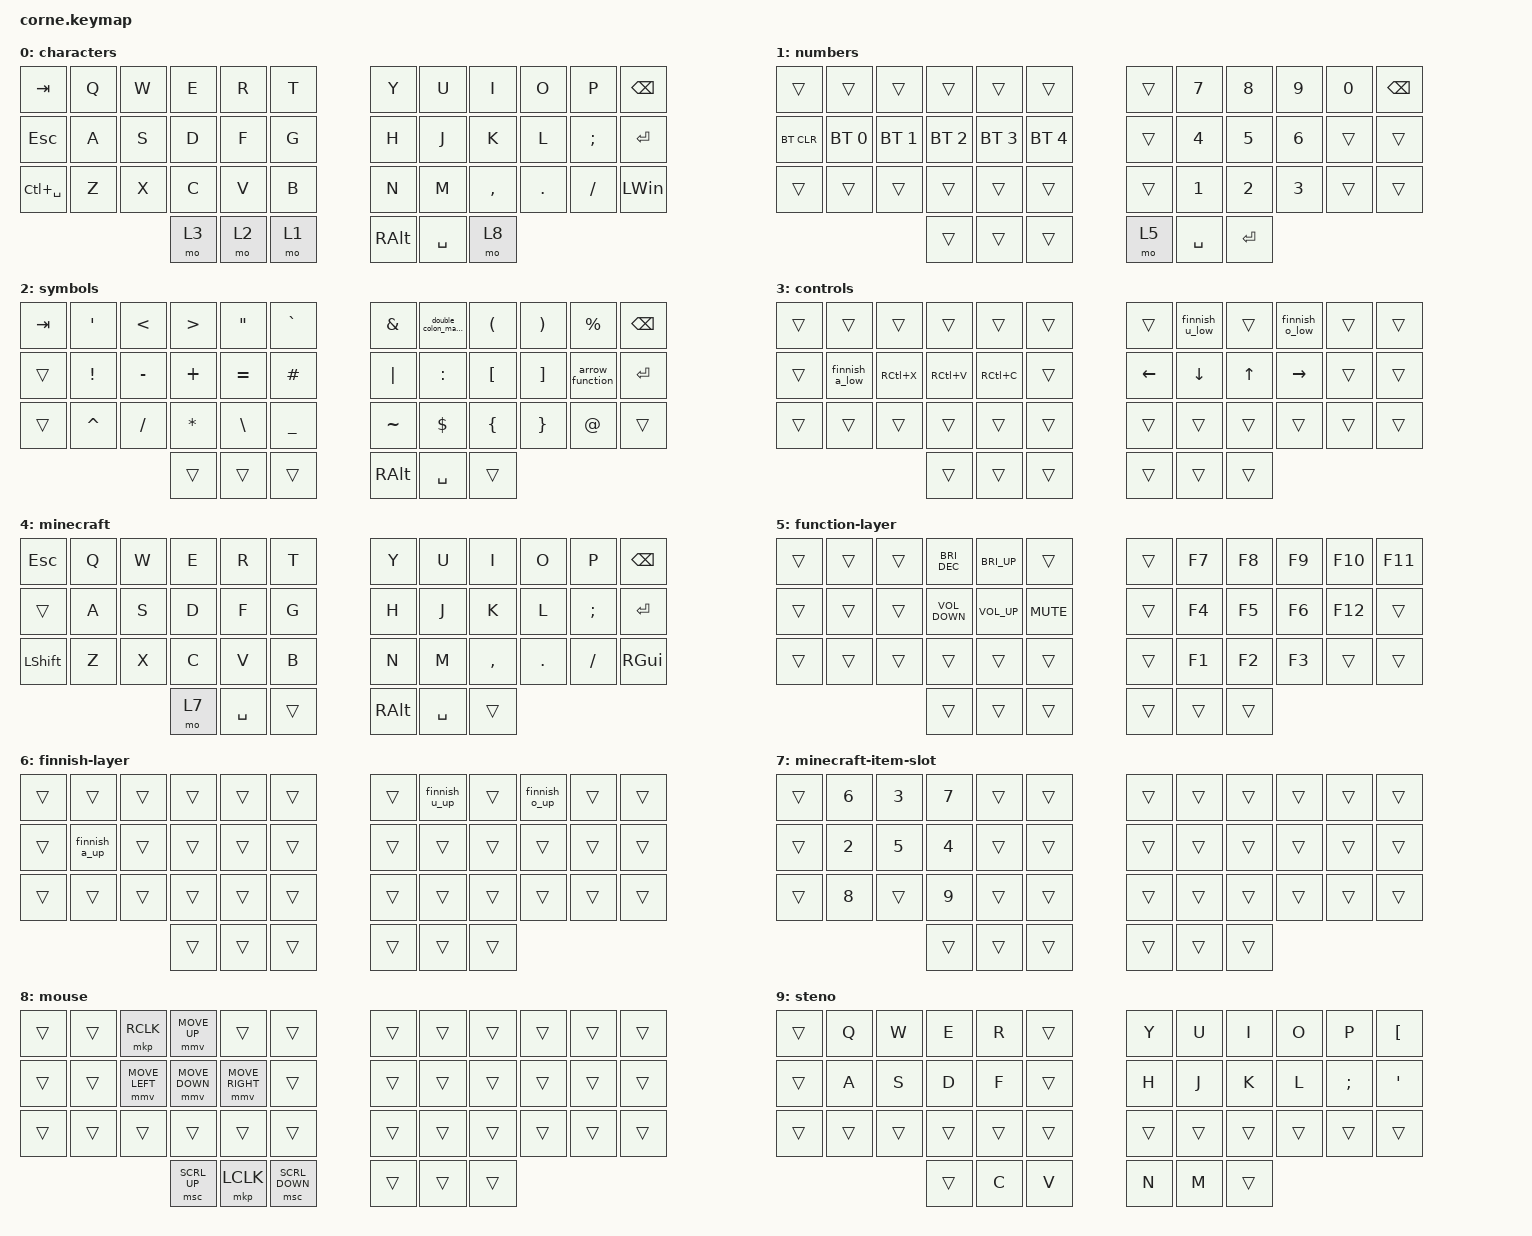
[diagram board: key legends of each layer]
/*
 * Copyright (c) 2020 The ZMK Contributors
 *
 * SPDX-License-Identifier: MIT
 */

#include <behaviors.dtsi>
#include <dt-bindings/zmk/bt.h>
#include <dt-bindings/zmk/keys.h>
#include <dt-bindings/zmk/pointing.h>

#define ZMK_POINTING_DEFAULT_MOVE_VAL 1500  // default was 600
#define ZMK_POINTING_DEFAULT_SCRL_VAL 20    // default was 10

/ {
    combos {
        compatible = "zmk,combos";

        powertoy-search {
            bindings = <&kp LG(SPACE)>;
            key-positions = <39 38>;
            layers = <0>;
        };

        right-shift {
            bindings = <&kp RSHIFT>;
            key-positions = <19 20>;
            layers = <0>;
        };

        left-shift {
            bindings = <&kp LSHFT>;
            key-positions = <16 15>;
            layers = <0>;
        };

        left-control {
            bindings = <&kp LEFT_CONTROL>;
            key-positions = <15 14>;
            layers = <0 1>;
        };

        right-control {
            bindings = <&kp RIGHT_CONTROL>;
            key-positions = <20 21>;
            layers = <0 1>;
        };

        ctrl-shift-right {
            bindings = <&kp RS(RC(RIGHT_CONTROL))>;
            key-positions = <19 21>;
            layers = <0>;
        };

        ctrl-shift-left {
            bindings = <&kp RS(RC(RIGHT_CONTROL))>;
            key-positions = <16 14>;
            layers = <0>;
        };

        caplocks {
            bindings = <&kp CAPS>;
            key-positions = <36 41>;
            layers = <0>;
        };

        krunker-layer {
            bindings = <&tog 4>;
            key-positions = <12 23>;
            layers = <0 4>;
        };

        finnish-captialzie-right {
            bindings = <&mo 6>;
            key-positions = <19 20>;
            layers = <3>;
        };

        finnish-captialize-left {
            bindings = <&mo 6>;
            key-positions = <16 15>;
            layers = <3>;
        };

        steno-switch {
            bindings = <&tog 9>;
            key-positions = <25 34>;
            layers = <0 9>;
        };
    };

    behaviors {
        hmr: hmr {
            compatible = "zmk,behavior-hold-tap";
            label = "HMR";
            #binding-cells = <2>;
            tapping-term-ms = <280>;
            bindings = <&kp>, <&kp>;

            quick-tap-ms = <175>;
            require-prior-idle-ms = <150>;
            flavor = "balanced";
            hold-trigger-on-release;
            hold-trigger-key-positions = <41 40 39 0 1 2 3 4 5 12 13 14 15 16 17 24 25 26 27 28 29 36 37 38>;
        };

        hml: hml {
            compatible = "zmk,behavior-hold-tap";
            label = "HML";
            #binding-cells = <2>;
            tapping-term-ms = <280>;
            bindings = <&kp>, <&kp>;

            quick-tap-ms = <175>;
            require-prior-idle-ms = <150>;
            flavor = "balanced";
            hold-trigger-on-release;
            hold-trigger-key-positions = <41 40 39 38 37 36 6 7 8 9 10 11 18 19 20 21 22 23 30 31 32 33 34 35 39 40 41>;
        };
    };

    macros {
        double_colon_macro: double_colon_macro {
            compatible = "zmk,behavior-macro";
            #binding-cells = <0>;
            bindings = <&kp COLON &kp COLON>;
            label = "DOUBLE_COLON_MACRO";
        };

        arrow_function: arrow_function {
            compatible = "zmk,behavior-macro";
            #binding-cells = <0>;
            bindings = <&kp LPAR &kp RPAR &kp SPACE &kp EQUAL &kp GT &kp SPACE &kp LEFT_BRACE &kp ENTER>;
            label = "ARROW_FUNCTION";
        };

        shut_down_window: shut_down_window {
            compatible = "zmk,behavior-macro";
            #binding-cells = <0>;
            bindings = <&kp RG(X) &kp U &kp U>;
            label = "SHUT_DOWN_WINDOW";
        };

        finnish_a_low: finnish_a_low {
            compatible = "zmk,behavior-macro";
            #binding-cells = <0>;
            bindings = <&kp LEFT_WIN &kp DQT &kp A>;
            label = "FINNISH_A_LOW";
        };

        finnish_u_low: finnish_u_low {
            compatible = "zmk,behavior-macro";
            #binding-cells = <0>;
            bindings = <&kp LEFT_WIN &kp DQT &kp U>;
            label = "FINNISH_U_LOW";
        };

        finnish_o_low: finnish_o_low {
            compatible = "zmk,behavior-macro";
            #binding-cells = <0>;
            bindings = <&kp LEFT_WIN &kp DQT &kp O>;
            label = "FINNISH_O_LOW";
        };

        finnish_a_up: finnish_a_up {
            compatible = "zmk,behavior-macro";
            #binding-cells = <0>;
            bindings = <&kp LEFT_WIN &kp DQT &kp LS(A)>;
            label = "FINNISH_A_UP";
        };

        finnish_u_up: finnish_u_up {
            compatible = "zmk,behavior-macro";
            #binding-cells = <0>;
            bindings = <&kp LEFT_WIN &kp DQT &kp LS(U)>;
            label = "FINNISH_U_UP";
        };

        finnish_o_up: finnish_o_up {
            compatible = "zmk,behavior-macro";
            #binding-cells = <0>;
            bindings = <&kp LEFT_WIN &kp DQT &kp LS(O)>;
            label = "FINNISH_O_UP";
        };
    };

    keymap {
        compatible = "zmk,keymap";

        characters {
            // -----------------------------------------------------------------------------------------
            // |  TAB |  Q  |  W  |  E  |  R  |  T  |   |  Y  |  U   |  I  |  O  |  P  | BSPC |
            // | CTRL |  A  |  S  |  D  |  F  |  G  |   |  H  |  J   |  K  |  L  |  ;  |  '   |
            // | SHFT |  Z  |  X  |  C  |  V  |  B  |   |  N  |  M   |  ,  |  .  |  /  | ESC  |
            //                    | GUI | LWR | SPC |   | ENT | RSE  | ALT |

            bindings = <
&kp TAB        &kp Q  &kp W  &kp E  &kp R  &kp T    &kp Y          &kp U      &kp I      &kp O    &kp P          &kp BACKSPACE
&kp ESC        &kp A  &kp S  &kp D  &kp F  &kp G    &kp H          &kp J      &kp K      &kp L    &kp SEMICOLON  &kp ENTER
&kp LC(SPACE)  &kp Z  &kp X  &kp C  &kp V  &kp B    &kp N          &kp M      &kp COMMA  &kp DOT  &kp FSLH       &kp LEFT_WIN
                             &mo 3  &mo 2  &mo 1    &kp RIGHT_ALT  &kp SPACE  &mo 8
            >;
        };

        numbers {
            // -----------------------------------------------------------------------------------------
            // |  TAB |  1  |  2  |  3  |  4  |  5  |   |  6  |  7  |  8  |  9  |  0  | BSPC |
            // | BTCLR| BT1 | BT2 | BT3 | BT4 | BT5 |   | LFT | DWN |  UP | RGT |     |      |
            // | SHFT |     |     |     |     |     |   |     |     |     |     |     |      |
            //                    | GUI |     | SPC |   | ENT |     | ALT |

            bindings = <
&trans      &trans        &trans        &trans        &trans        &trans          &trans  &kp N7        &kp N8        &kp N9        &kp N0  &kp BSPC
&bt BT_CLR  &bt BT_SEL 0  &bt BT_SEL 1  &bt BT_SEL 2  &bt BT_SEL 3  &bt BT_SEL 4    &trans  &kp NUMBER_4  &kp NUMBER_5  &kp NUMBER_6  &trans  &trans
&trans      &trans        &trans        &trans        &trans        &trans          &trans  &kp NUMBER_1  &kp NUMBER_2  &kp NUMBER_3  &trans  &trans
                                        &trans        &trans        &trans          &mo 5   &kp SPACE     &kp ENTER
            >;
        };

        symbols {
            // -----------------------------------------------------------------------------------------
            // |  TAB |  !  |  @  |  #  |  $  |  %  |   |  ^  |  &  |  *  |  (  |  )  | BSPC |
            // | CTRL |     |     |     |     |     |   |  -  |  =  |  [  |  ]  |  \  |  `   |
            // | SHFT |     |     |     |     |     |   |  _  |  +  |  {  |  }  | "|" |  ~   |
            //                    | GUI |     | SPC |   | ENT |     | ALT |

            bindings = <
&kp TAB  &kp SQT          &kp LESS_THAN  &kp GREATER_THAN  &kp DOUBLE_QUOTES  &kp GRAVE         &kp AMPERSAND  &double_colon_macro  &kp LEFT_PARENTHESIS  &kp RIGHT_PARENTHESIS  &kp PERCENT      &kp BSPC
&trans   &kp EXCLAMATION  &kp MINUS      &kp PLUS          &kp EQUAL          &kp HASH          &kp PIPE       &kp COLON            &kp LBKT              &kp RBKT               &arrow_function  &kp ENTER
&trans   &kp CARET        &kp SLASH      &kp ASTERISK      &kp BACKSLASH      &kp UNDERSCORE    &kp TILDE      &kp DOLLAR           &kp LBRC              &kp RBRC               &kp AT_SIGN      &trans
                                         &trans            &trans             &trans            &kp RIGHT_ALT  &kp SPACE            &trans
            >;
        };

        controls {
            bindings = <
&trans  &trans          &trans     &trans     &trans     &trans    &trans          &finnish_u_low  &trans        &finnish_o_low   &trans  &trans
&trans  &finnish_a_low  &kp RC(X)  &kp RC(V)  &kp RC(C)  &trans    &kp LEFT_ARROW  &kp DOWN        &kp UP_ARROW  &kp RIGHT_ARROW  &trans  &trans
&trans  &trans          &trans     &trans     &trans     &trans    &trans          &trans          &trans        &trans           &trans  &trans
                                   &trans     &trans     &trans    &trans          &trans          &trans
            >;
        };

        minecraft {
            bindings = <
&kp ESCAPE      &kp Q  &kp W  &kp E  &kp R      &kp T     &kp Y          &kp U      &kp I      &kp O    &kp P          &kp BSPC
&trans          &kp A  &kp S  &kp D  &kp F      &kp G     &kp H          &kp J      &kp K      &kp L    &kp SEMICOLON  &kp ENTER
&kp LEFT_SHIFT  &kp Z  &kp X  &kp C  &kp V      &kp B     &kp N          &kp M      &kp COMMA  &kp DOT  &kp FSLH       &kp RGUI
                              &mo 7  &kp SPACE  &trans    &kp RIGHT_ALT  &kp SPACE  &trans
            >;
        };

        function-layer {
            bindings = <
&trans  &trans  &trans  &kp C_BRIGHTNESS_DEC  &kp C_BRI_UP     &trans        &trans  &kp F7  &kp F8  &kp F9  &kp F10  &kp F11
&trans  &trans  &trans  &kp C_VOLUME_DOWN     &kp C_VOLUME_UP  &kp C_MUTE    &trans  &kp F4  &kp F5  &kp F6  &kp F12  &trans
&trans  &trans  &trans  &trans                &trans           &trans        &trans  &kp F1  &kp F2  &kp F3  &trans   &trans
                        &trans                &trans           &trans        &trans  &trans  &trans
            >;
        };

        finnish-layer {
            bindings = <
&trans  &trans         &trans  &trans  &trans  &trans    &trans  &finnish_u_up  &trans  &finnish_o_up  &trans  &trans
&trans  &finnish_a_up  &trans  &trans  &trans  &trans    &trans  &trans         &trans  &trans         &trans  &trans
&trans  &trans         &trans  &trans  &trans  &trans    &trans  &trans         &trans  &trans         &trans  &trans
                               &trans  &trans  &trans    &trans  &trans         &trans
            >;
        };

        minecraft-item-slot {
            bindings = <
&trans  &kp N6        &kp NUMBER_3  &kp N7  &trans  &trans    &trans  &trans  &trans  &trans  &trans  &trans
&trans  &kp NUMBER_2  &kp N5        &kp N4  &trans  &trans    &trans  &trans  &trans  &trans  &trans  &trans
&trans  &kp N8        &trans        &kp N9  &trans  &trans    &trans  &trans  &trans  &trans  &trans  &trans
                                    &trans  &trans  &trans    &trans  &trans  &trans
            >;
        };

        mouse {
            bindings = <
&trans  &trans  &mkp RCLK       &mmv MOVE_UP    &trans           &trans            &trans  &trans  &trans  &trans  &trans  &trans
&trans  &trans  &mmv MOVE_LEFT  &mmv MOVE_DOWN  &mmv MOVE_RIGHT  &trans            &trans  &trans  &trans  &trans  &trans  &trans
&trans  &trans  &trans          &trans          &trans           &trans            &trans  &trans  &trans  &trans  &trans  &trans
                                &msc SCRL_UP    &mkp LCLK        &msc SCRL_DOWN    &trans  &trans  &trans
            >;
        };

        steno {
            bindings = <
&trans  &kp Q   &kp W   &kp E   &kp R   &trans    &kp Y   &kp U   &kp I   &kp O   &kp P     &kp LBKT
&trans  &kp A   &kp S   &kp D   &kp F   &trans    &kp H   &kp J   &kp K   &kp L   &kp SEMI  &kp SQT
&trans  &trans  &trans  &trans  &trans  &trans    &trans  &trans  &trans  &trans  &trans    &trans
                        &trans  &kp C   &kp V     &kp N   &kp M   &trans
            >;
        };
    };
};
